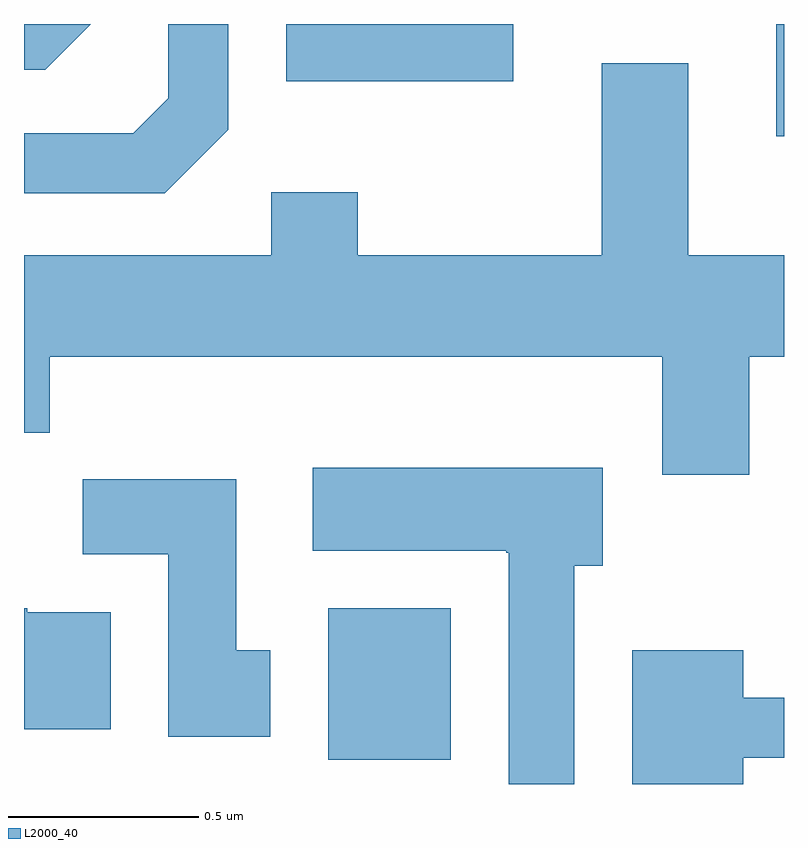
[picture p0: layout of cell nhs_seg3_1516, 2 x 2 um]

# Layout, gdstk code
import gdstk
lib = gdstk.Library(unit=1e-6, precision=1e-09)
def R(c, l, rs):  # rectangles x0, y0, x1, y1
    for r in rs: c.add(gdstk.rectangle(r[:2], r[2:], *l))
def P(c, l, *ps):  # polygons
    for p in ps: c.add(gdstk.Polygon(p, *l))
L2000_40 = (2000, 40)

nhs_seg3_1516 = lib.new_cell('nhs_seg3_1516')
R(nhs_seg3_1516, L2000_40, [(197.411,1124.956,197.734,1125.354), (198.591,1126.596,198.611,1126.892), (197.301,1126.741,197.899,1126.892)])
P(nhs_seg3_1516, L2000_40, [(196.787,1126.892),(196.611,1126.892),(196.611,1126.771),(196.667,1126.771)],
  [(197.149,1126.614),(197.149,1126.892),(196.991,1126.892),(196.991,1126.697),(196.899,1126.604),(196.611,1126.604),(196.611,1126.446),(196.982,1126.446)],
  [(198.519,1126.016),(198.611,1126.016),(198.611,1126.284),(198.359,1126.284),(198.359,1126.789),(198.131,1126.789),(198.131,1126.284),(197.489,1126.284),(197.489,1126.449),(197.261,1126.449),(197.261,1126.284),(196.611,1126.284),(196.611,1125.816),(196.679,1125.816),(196.679,1126.016),(198.291,1126.016),(198.291,1125.706),(198.519,1125.706)],
  [(198.059,1125.466),(198.134,1125.466),(198.134,1125.724),(197.371,1125.724),(197.371,1125.506),(197.88,1125.506),(197.88,1125.5),(197.886,1125.5),(197.886,1124.892),(198.059,1124.892)],
  [(197.259,1125.244),(197.169,1125.244),(197.169,1125.694),(196.766,1125.694),(196.766,1125.496),(196.991,1125.496),(196.991,1125.016),(197.259,1125.016)],
  [(196.839,1125.344),(196.62,1125.344),(196.62,1125.354),(196.611,1125.354),(196.611,1125.036),(196.839,1125.036)],
  [(198.504,1124.961),(198.611,1124.961),(198.611,1125.119),(198.504,1125.119),(198.504,1125.244),(198.211,1125.244),(198.211,1124.892),(198.504,1124.892)])

lib.write_gds('nhs_seg3_1516.gds')
